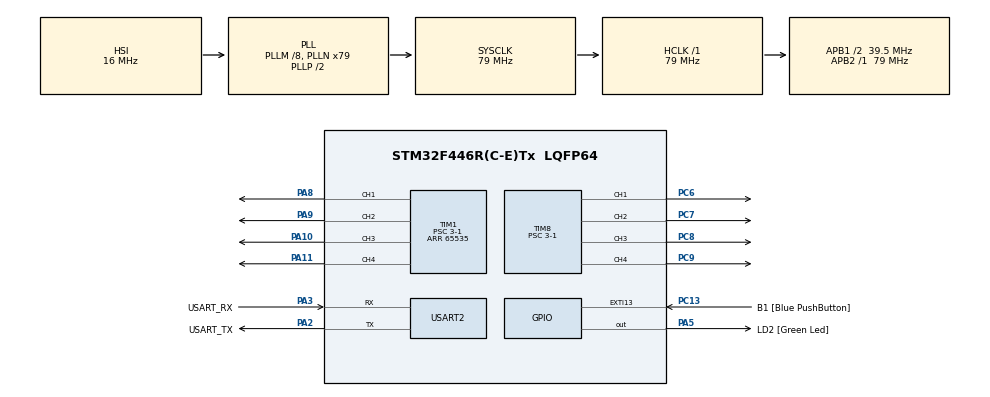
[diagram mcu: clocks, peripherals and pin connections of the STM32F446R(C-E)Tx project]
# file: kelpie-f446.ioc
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Mcu.Family=STM32F4
Mcu.Name=STM32F446R(C-E)Tx
Mcu.Package=LQFP64
NVIC.PriorityGroup=NVIC_PRIORITYGROUP_0
PA10.Signal=S_TIM1_CH3
PA11.Signal=S_TIM1_CH4
PA13.GPIO_Label=TMS
PA13.Mode=Serial_Wire
PA13.Signal=SYS_JTMS-SWDIO
PA14.GPIO_Label=TCK
PA14.Mode=Serial_Wire
PA14.Signal=SYS_JTCK-SWCLK
PA2.GPIO_Label=USART_TX
PA2.Mode=Asynchronous
PA2.Signal=USART2_TX
PA3.GPIO_Label=USART_RX
PA3.Mode=Asynchronous
PA3.Signal=USART2_RX
PA5.GPIO_Label=LD2 [Green Led]
PA5.Signal=GPIO_Output
PA8.Signal=S_TIM1_CH1
PA9.Signal=S_TIM1_CH2
PB3.GPIO_Label=SWO
PB3.Signal=SYS_JTDO-SWO
PC13.GPIO_Label=B1 [Blue PushButton]
PC13.GPIO_ModeDefaultEXTI=GPIO_MODE_IT_FALLING
PC13.Signal=GPXTI13
PC14-OSC32_IN.Mode=LSE-External-Oscillator
PC14-OSC32_IN.Signal=RCC_OSC32_IN
PC15-OSC32_OUT.Mode=LSE-External-Oscillator
PC15-OSC32_OUT.Signal=RCC_OSC32_OUT
PC6.Signal=S_TIM8_CH1
PC7.Signal=S_TIM8_CH2
PC8.Signal=S_TIM8_CH3
PC9.Signal=S_TIM8_CH4
PH0-OSC_IN.Mode=HSE-External-Oscillator
PH0-OSC_IN.Signal=RCC_OSC_IN
PH1-OSC_OUT.Mode=HSE-External-Oscillator
PH1-OSC_OUT.Signal=RCC_OSC_OUT
ProjectManager.HeapSize=0x200
ProjectManager.StackSize=0x400
ProjectManager.TargetToolchain=STM32CubeIDE
RCC.48MHZClocksFreq_Value=84000000
RCC.AHBFreq_Value=79000000
RCC.APB1CLKDivider=RCC_HCLK_DIV2
RCC.APB1Freq_Value=39500000
RCC.APB1TimFreq_Value=79000000
RCC.APB2Freq_Value=79000000
RCC.APB2TimFreq_Value=79000000
RCC.CortexFreq_Value=79000000
RCC.FLatency-AdvancedSettings=FLASH_LATENCY_2
RCC.HCLKFreq_Value=79000000
RCC.HSE_VALUE=8000000
RCC.HSI_VALUE=16000000
RCC.LSE_Drive_Capability=RCC_LSEDRIVE_LOW
RCC.MSIAutoCalibration=ENABLED
RCC.MSICalibrationValue=0
RCC.PLLM=8
RCC.PLLN=79
RCC.SYSCLKFreq_VALUE=79000000
RCC.SYSCLKSource=RCC_SYSCLKSOURCE_PLLCLK
RCC.USBFreq_Value=79000000
RCC.VCOOutputFreq_Value=158000000
SH.S_TIM1_CH1.0=TIM1_CH1,PWM Generation1 CH1
SH.S_TIM1_CH2.0=TIM1_CH2,PWM Generation2 CH2
SH.S_TIM1_CH3.0=TIM1_CH3,PWM Generation3 CH3
SH.S_TIM1_CH4.0=TIM1_CH4,PWM Generation4 CH4
SH.S_TIM8_CH1.0=TIM8_CH1,PWM Generation1 CH1
SH.S_TIM8_CH2.0=TIM8_CH2,PWM Generation2 CH2
SH.S_TIM8_CH3.0=TIM8_CH3,PWM Generation3 CH3
SH.S_TIM8_CH4.0=TIM8_CH4,PWM Generation4 CH4
TIM1.Channel-PWM\ Generation1\ CH1=TIM_CHANNEL_1
TIM1.Channel-PWM\ Generation2\ CH2=TIM_CHANNEL_2
TIM1.Channel-PWM\ Generation3\ CH3=TIM_CHANNEL_3
TIM1.Channel-PWM\ Generation4\ CH4=TIM_CHANNEL_4
TIM1.Period=65535
TIM1.Prescaler=3-1
TIM8.Channel-PWM\ Generation1\ CH1=TIM_CHANNEL_1
TIM8.Channel-PWM\ Generation2\ CH2=TIM_CHANNEL_2
TIM8.Channel-PWM\ Generation3\ CH3=TIM_CHANNEL_3
TIM8.Channel-PWM\ Generation4\ CH4=TIM_CHANNEL_4
TIM8.Prescaler=3-1
USART2.VirtualMode=VM_ASYNC
VP_TIM1_VS_ClockSourceINT.Mode=Internal
VP_TIM8_VS_ClockSourceINT.Mode=Internal
board=NUCLEO-F446RE

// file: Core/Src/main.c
/* USER CODE BEGIN Header */
/**
  ******************************************************************************
  * @file           : main.c
  * @brief          : Main program body
  ******************************************************************************
  * @attention
  *
  * Copyright (c) 2022 STMicroelectronics.
  * All rights reserved.
  *
  * This software is licensed under terms that can be found in the LICENSE file
  * in the root directory of this software component.
  * If no LICENSE file comes with this software, it is provided AS-IS.
  *
  ******************************************************************************
  */
/* USER CODE END Header */
#include "main.h"

/* USER CODE BEGIN Includes */
#define PWMVALUE (int)1800/0.0381
#define TO_PWM(pwm) (int)pwm/0.0381
#define STARTUP_PWM 39402
/* USER CODE END Includes */

TIM_HandleTypeDef htim1;
TIM_HandleTypeDef htim8;

UART_HandleTypeDef huart2;

void SystemClock_Config(void);
static void MX_GPIO_Init(void);
static void MX_USART2_UART_Init(void);
static void MX_TIM1_Init(void);
static void MX_TIM8_Init(void);

int main(void)
{

  /* MCU Configuration--------------------------------------------------------*/

  /* Reset of all peripherals, Initializes the Flash interface and the Systick. */
  HAL_Init();

  /* Configure the system clock */
  SystemClock_Config();

  /* Initialize all configured peripherals */
  MX_GPIO_Init();
  MX_USART2_UART_Init();
  MX_TIM1_Init();
  MX_TIM8_Init();

  /* Infinite loop */
  /* USER CODE BEGIN WHILE */
  TIM1->CCR1 = STARTUP_PWM;
  //TIM1->CCR2 = 40000;
  HAL_TIM_PWM_Start(&htim1, TIM_CHANNEL_1);
  TIM1->CCR2 = STARTUP_PWM;
  //TIM1->CCR2 = 40000;
  HAL_TIM_PWM_Start(&htim1, TIM_CHANNEL_2);
  TIM1->CCR3 = STARTUP_PWM;
  //TIM1->CCR2 = 40000;
  HAL_TIM_PWM_Start(&htim1, TIM_CHANNEL_3);
  TIM1->CCR4 = STARTUP_PWM;
  //TIM1->CCR2 = 40000;
  HAL_TIM_PWM_Start(&htim1, TIM_CHANNEL_4);

  TIM8->CCR1 = STARTUP_PWM;
  //TIM1->CCR2 = 40000;
  HAL_TIM_PWM_Start(&htim8, TIM_CHANNEL_1);
  TIM8->CCR2 = STARTUP_PWM;
  //TIM1->CCR2 = 40000;
  HAL_TIM_PWM_Start(&htim8, TIM_CHANNEL_2);
  TIM8->CCR3 = STARTUP_PWM;

  HAL_TIM_PWM_Start(&htim8, TIM_CHANNEL_3);
  TIM8->CCR4 = STARTUP_PWM;

  HAL_TIM_PWM_Start(&htim8, TIM_CHANNEL_4);

  HAL_Delay(5000);

  	TIM1->CCR1 = TO_PWM(1000);

    HAL_TIM_PWM_Start(&htim1, TIM_CHANNEL_1);
    TIM1->CCR2 = TO_PWM(1100);

    HAL_TIM_PWM_Start(&htim1, TIM_CHANNEL_2);
    TIM1->CCR3 = TO_PWM(1200);

    HAL_TIM_PWM_Start(&htim1, TIM_CHANNEL_3);
    TIM1->CCR4 = TO_PWM(1300);

    HAL_TIM_PWM_Start(&htim1, TIM_CHANNEL_4);

    TIM8->CCR1 = TO_PWM(1400);

    HAL_TIM_PWM_Start(&htim8, TIM_CHANNEL_1);
    TIM8->CCR2 = TO_PWM(1500);

    HAL_TIM_PWM_Start(&htim8, TIM_CHANNEL_2);

    TIM8->CCR3 = TO_PWM(1600);

    HAL_TIM_PWM_Start(&htim8, TIM_CHANNEL_3);
    TIM8->CCR4 = TO_PWM(1700);

    HAL_TIM_PWM_Start(&htim8, TIM_CHANNEL_4);
  while (1)
  {

    /* USER CODE END WHILE */

  }
}

void SystemClock_Config(void)
{
  RCC_OscInitTypeDef RCC_OscInitStruct = {0};
  RCC_ClkInitTypeDef RCC_ClkInitStruct = {0};

  /** Configure the main internal regulator output voltage
  */
  __HAL_RCC_PWR_CLK_ENABLE();
  __HAL_PWR_VOLTAGESCALING_CONFIG(PWR_REGULATOR_VOLTAGE_SCALE3);
  /** Initializes the RCC Oscillators according to the specified parameters
  * in the RCC_OscInitTypeDef structure.
  */
  RCC_OscInitStruct.OscillatorType = RCC_OSCILLATORTYPE_HSI;
  RCC_OscInitStruct.HSIState = RCC_HSI_ON;
  RCC_OscInitStruct.HSICalibrationValue = RCC_HSICALIBRATION_DEFAULT;
  RCC_OscInitStruct.PLL.PLLState = RCC_PLL_ON;
  RCC_OscInitStruct.PLL.PLLSource = RCC_PLLSOURCE_HSI;
  RCC_OscInitStruct.PLL.PLLM = 8;
  RCC_OscInitStruct.PLL.PLLN = 79;
  RCC_OscInitStruct.PLL.PLLP = RCC_PLLP_DIV2;
  RCC_OscInitStruct.PLL.PLLQ = 2;
  RCC_OscInitStruct.PLL.PLLR = 2;
  if (HAL_RCC_OscConfig(&RCC_OscInitStruct) != HAL_OK)
  {
    Error_Handler();
  }
  /** Initializes the CPU, AHB and APB buses clocks
  */
  RCC_ClkInitStruct.ClockType = RCC_CLOCKTYPE_HCLK|RCC_CLOCKTYPE_SYSCLK
                              |RCC_CLOCKTYPE_PCLK1|RCC_CLOCKTYPE_PCLK2;
  RCC_ClkInitStruct.SYSCLKSource = RCC_SYSCLKSOURCE_PLLCLK;
  RCC_ClkInitStruct.AHBCLKDivider = RCC_SYSCLK_DIV1;
  RCC_ClkInitStruct.APB1CLKDivider = RCC_HCLK_DIV2;
  RCC_ClkInitStruct.APB2CLKDivider = RCC_HCLK_DIV1;

  if (HAL_RCC_ClockConfig(&RCC_ClkInitStruct, FLASH_LATENCY_2) != HAL_OK)
  {
    Error_Handler();
  }
}

static void MX_TIM1_Init(void)
{

  TIM_ClockConfigTypeDef sClockSourceConfig = {0};
  TIM_MasterConfigTypeDef sMasterConfig = {0};
  TIM_OC_InitTypeDef sConfigOC = {0};
  TIM_BreakDeadTimeConfigTypeDef sBreakDeadTimeConfig = {0};

  htim1.Instance = TIM1;
  htim1.Init.Prescaler = 3-1;
  htim1.Init.CounterMode = TIM_COUNTERMODE_UP;
  htim1.Init.Period = 65535;
  htim1.Init.ClockDivision = TIM_CLOCKDIVISION_DIV1;
  htim1.Init.RepetitionCounter = 0;
  htim1.Init.AutoReloadPreload = TIM_AUTORELOAD_PRELOAD_DISABLE;
  if (HAL_TIM_Base_Init(&htim1) != HAL_OK)
  {
    Error_Handler();
  }
  sClockSourceConfig.ClockSource = TIM_CLOCKSOURCE_INTERNAL;
  if (HAL_TIM_ConfigClockSource(&htim1, &sClockSourceConfig) != HAL_OK)
  {
    Error_Handler();
  }
  if (HAL_TIM_PWM_Init(&htim1) != HAL_OK)
  {
    Error_Handler();
  }
  sMasterConfig.MasterOutputTrigger = TIM_TRGO_RESET;
  sMasterConfig.MasterSlaveMode = TIM_MASTERSLAVEMODE_DISABLE;
  if (HAL_TIMEx_MasterConfigSynchronization(&htim1, &sMasterConfig) != HAL_OK)
  {
    Error_Handler();
  }
  sConfigOC.OCMode = TIM_OCMODE_PWM1;
  sConfigOC.Pulse = 0;
  sConfigOC.OCPolarity = TIM_OCPOLARITY_HIGH;
  sConfigOC.OCNPolarity = TIM_OCNPOLARITY_HIGH;
  sConfigOC.OCFastMode = TIM_OCFAST_DISABLE;
  sConfigOC.OCIdleState = TIM_OCIDLESTATE_RESET;
  sConfigOC.OCNIdleState = TIM_OCNIDLESTATE_RESET;
  if (HAL_TIM_PWM_ConfigChannel(&htim1, &sConfigOC, TIM_CHANNEL_1) != HAL_OK)
  {
    Error_Handler();
  }
  if (HAL_TIM_PWM_ConfigChannel(&htim1, &sConfigOC, TIM_CHANNEL_2) != HAL_OK)
  {
    Error_Handler();
  }
  if (HAL_TIM_PWM_ConfigChannel(&htim1, &sConfigOC, TIM_CHANNEL_3) != HAL_OK)
  {
    Error_Handler();
  }
  if (HAL_TIM_PWM_ConfigChannel(&htim1, &sConfigOC, TIM_CHANNEL_4) != HAL_OK)
  {
    Error_Handler();
  }
  sBreakDeadTimeConfig.OffStateRunMode = TIM_OSSR_DISABLE;
  sBreakDeadTimeConfig.OffStateIDLEMode = TIM_OSSI_DISABLE;
  sBreakDeadTimeConfig.LockLevel = TIM_LOCKLEVEL_OFF;
  sBreakDeadTimeConfig.DeadTime = 0;
  sBreakDeadTimeConfig.BreakState = TIM_BREAK_DISABLE;
  sBreakDeadTimeConfig.BreakPolarity = TIM_BREAKPOLARITY_HIGH;
  sBreakDeadTimeConfig.AutomaticOutput = TIM_AUTOMATICOUTPUT_DISABLE;
  if (HAL_TIMEx_ConfigBreakDeadTime(&htim1, &sBreakDeadTimeConfig) != HAL_OK)
  {
    Error_Handler();
  }
  HAL_TIM_MspPostInit(&htim1);

}

static void MX_TIM8_Init(void)
{

  TIM_ClockConfigTypeDef sClockSourceConfig = {0};
  TIM_MasterConfigTypeDef sMasterConfig = {0};
  TIM_OC_InitTypeDef sConfigOC = {0};
  TIM_BreakDeadTimeConfigTypeDef sBreakDeadTimeConfig = {0};

  htim8.Instance = TIM8;
  htim8.Init.Prescaler = 3-1;
  htim8.Init.CounterMode = TIM_COUNTERMODE_UP;
  htim8.Init.Period = 65535;
  htim8.Init.ClockDivision = TIM_CLOCKDIVISION_DIV1;
  htim8.Init.RepetitionCounter = 0;
  htim8.Init.AutoReloadPreload = TIM_AUTORELOAD_PRELOAD_DISABLE;
  if (HAL_TIM_Base_Init(&htim8) != HAL_OK)
  {
    Error_Handler();
  }
  sClockSourceConfig.ClockSource = TIM_CLOCKSOURCE_INTERNAL;
  if (HAL_TIM_ConfigClockSource(&htim8, &sClockSourceConfig) != HAL_OK)
  {
    Error_Handler();
  }
  if (HAL_TIM_PWM_Init(&htim8) != HAL_OK)
  {
    Error_Handler();
  }
  sMasterConfig.MasterOutputTrigger = TIM_TRGO_RESET;
  sMasterConfig.MasterSlaveMode = TIM_MASTERSLAVEMODE_DISABLE;
  if (HAL_TIMEx_MasterConfigSynchronization(&htim8, &sMasterConfig) != HAL_OK)
  {
    Error_Handler();
  }
  sConfigOC.OCMode = TIM_OCMODE_PWM1;
  sConfigOC.Pulse = 0;
  sConfigOC.OCPolarity = TIM_OCPOLARITY_HIGH;
  sConfigOC.OCNPolarity = TIM_OCNPOLARITY_HIGH;
  sConfigOC.OCFastMode = TIM_OCFAST_DISABLE;
  sConfigOC.OCIdleState = TIM_OCIDLESTATE_RESET;
  sConfigOC.OCNIdleState = TIM_OCNIDLESTATE_RESET;
  if (HAL_TIM_PWM_ConfigChannel(&htim8, &sConfigOC, TIM_CHANNEL_1) != HAL_OK)
  {
    Error_Handler();
  }
  if (HAL_TIM_PWM_ConfigChannel(&htim8, &sConfigOC, TIM_CHANNEL_2) != HAL_OK)
  {
    Error_Handler();
  }
  if (HAL_TIM_PWM_ConfigChannel(&htim8, &sConfigOC, TIM_CHANNEL_3) != HAL_OK)
  {
    Error_Handler();
  }
  if (HAL_TIM_PWM_ConfigChannel(&htim8, &sConfigOC, TIM_CHANNEL_4) != HAL_OK)
  {
    Error_Handler();
  }
  sBreakDeadTimeConfig.OffStateRunMode = TIM_OSSR_DISABLE;
  sBreakDeadTimeConfig.OffStateIDLEMode = TIM_OSSI_DISABLE;
  sBreakDeadTimeConfig.LockLevel = TIM_LOCKLEVEL_OFF;
  sBreakDeadTimeConfig.DeadTime = 0;
  sBreakDeadTimeConfig.BreakState = TIM_BREAK_DISABLE;
  sBreakDeadTimeConfig.BreakPolarity = TIM_BREAKPOLARITY_HIGH;
  sBreakDeadTimeConfig.AutomaticOutput = TIM_AUTOMATICOUTPUT_DISABLE;
  if (HAL_TIMEx_ConfigBreakDeadTime(&htim8, &sBreakDeadTimeConfig) != HAL_OK)
  {
    Error_Handler();
  }
  HAL_TIM_MspPostInit(&htim8);

}

static void MX_USART2_UART_Init(void)
{

  huart2.Instance = USART2;
  huart2.Init.BaudRate = 115200;
  huart2.Init.WordLength = UART_WORDLENGTH_8B;
  huart2.Init.StopBits = UART_STOPBITS_1;
  huart2.Init.Parity = UART_PARITY_NONE;
  huart2.Init.Mode = UART_MODE_TX_RX;
  huart2.Init.HwFlowCtl = UART_HWCONTROL_NONE;
  huart2.Init.OverSampling = UART_OVERSAMPLING_16;
  if (HAL_UART_Init(&huart2) != HAL_OK)
  {
    Error_Handler();
  }

}

static void MX_GPIO_Init(void)
{
  GPIO_InitTypeDef GPIO_InitStruct = {0};

  /* GPIO Ports Clock Enable */
  __HAL_RCC_GPIOC_CLK_ENABLE();
  __HAL_RCC_GPIOH_CLK_ENABLE();
  __HAL_RCC_GPIOA_CLK_ENABLE();
  __HAL_RCC_GPIOB_CLK_ENABLE();

  /*Configure GPIO pin Output Level */
  HAL_GPIO_WritePin(LD2_GPIO_Port, LD2_Pin, GPIO_PIN_RESET);

  /*Configure GPIO pin : B1_Pin */
  GPIO_InitStruct.Pin = B1_Pin;
  GPIO_InitStruct.Mode = GPIO_MODE_IT_FALLING;
  GPIO_InitStruct.Pull = GPIO_NOPULL;
  HAL_GPIO_Init(B1_GPIO_Port, &GPIO_InitStruct);

  /*Configure GPIO pin : LD2_Pin */
  GPIO_InitStruct.Pin = LD2_Pin;
  GPIO_InitStruct.Mode = GPIO_MODE_OUTPUT_PP;
  GPIO_InitStruct.Pull = GPIO_NOPULL;
  GPIO_InitStruct.Speed = GPIO_SPEED_FREQ_LOW;
  HAL_GPIO_Init(LD2_GPIO_Port, &GPIO_InitStruct);

}

void Error_Handler(void)
{
  __disable_irq();
  while (1)
  {
  }
}
